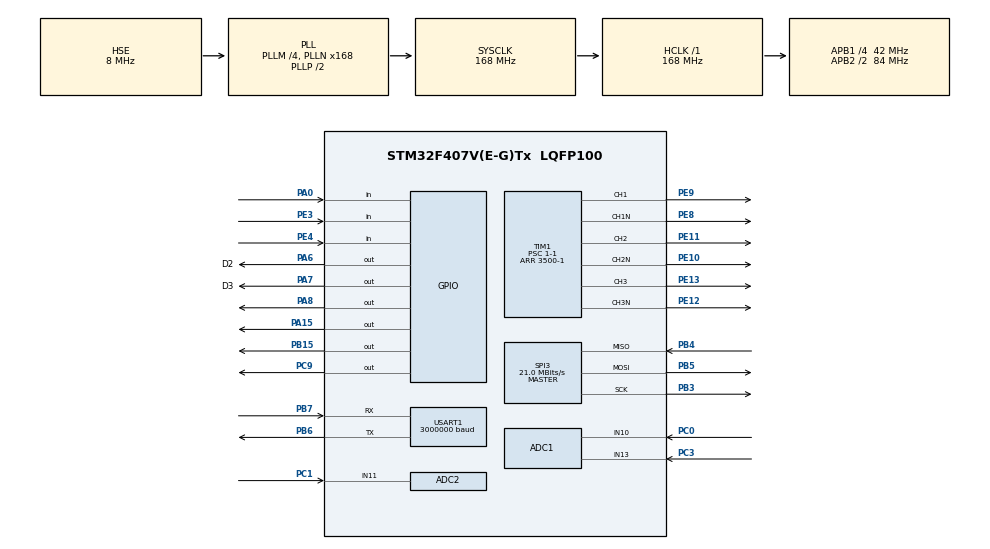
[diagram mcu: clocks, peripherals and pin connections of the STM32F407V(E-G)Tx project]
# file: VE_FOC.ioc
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ADC1.Channel-5\#ChannelRegularConversion=ADC_CHANNEL_13
ADC1.Channel-6\#ChannelInjectedConversion=ADC_CHANNEL_10
ADC1.ClockPrescaler=ADC_CLOCK_SYNC_PCLK_DIV4
ADC1.ContinuousConvMode=DISABLE
ADC1.EOCSelection=ADC_EOC_SINGLE_CONV
ADC1.ExternalTrigInjecConv=ADC_EXTERNALTRIGINJECCONV_T1_TRGO
ADC1.ExternalTrigInjecConvEdge=ADC_EXTERNALTRIGINJECCONVEDGE_RISING
ADC1.InjNumberOfConversion=1
ADC1.InjectedOffset-6\#ChannelInjectedConversion=0
ADC1.InjectedRank-6\#ChannelInjectedConversion=1
ADC1.NbrOfConversion=1
ADC1.NbrOfConversionFlag=1
ADC1.Rank-5\#ChannelRegularConversion=1
ADC1.SamplingTime-5\#ChannelRegularConversion=ADC_SAMPLETIME_3CYCLES
ADC1.SamplingTime-6\#ChannelInjectedConversion=ADC_SAMPLETIME_3CYCLES
ADC1.master=1
ADC2.Channel-0\#ChannelRegularConversion=ADC_CHANNEL_11
ADC2.Channel-1\#ChannelInjectedConversion=ADC_CHANNEL_11
ADC2.ExternalTrigInjecConv=ADC_EXTERNALTRIGINJECCONV_T1_TRGO
ADC2.InjNumberOfConversion=1
ADC2.InjectedOffset-1\#ChannelInjectedConversion=0
ADC2.InjectedRank-1\#ChannelInjectedConversion=1
ADC2.NbrOfConversionFlag=1
ADC2.Rank-0\#ChannelRegularConversion=1
ADC2.SamplingTime-0\#ChannelRegularConversion=ADC_SAMPLETIME_3CYCLES
ADC2.SamplingTime-1\#ChannelInjectedConversion=ADC_SAMPLETIME_3CYCLES
Dma.ADC1.0.Direction=DMA_PERIPH_TO_MEMORY
Dma.ADC1.0.FIFOMode=DMA_FIFOMODE_DISABLE
Dma.ADC1.0.Instance=DMA2_Stream0
Dma.ADC1.0.MemDataAlignment=DMA_MDATAALIGN_HALFWORD
Dma.ADC1.0.MemInc=DMA_MINC_ENABLE
Dma.ADC1.0.Mode=DMA_NORMAL
Dma.ADC1.0.PeriphDataAlignment=DMA_PDATAALIGN_HALFWORD
Dma.ADC1.0.PeriphInc=DMA_PINC_DISABLE
Dma.ADC1.0.Priority=DMA_PRIORITY_LOW
Dma.ADC2.1.Direction=DMA_PERIPH_TO_MEMORY
Dma.ADC2.1.FIFOMode=DMA_FIFOMODE_DISABLE
Dma.ADC2.1.Instance=DMA2_Stream3
Dma.ADC2.1.MemDataAlignment=DMA_MDATAALIGN_HALFWORD
Dma.ADC2.1.MemInc=DMA_MINC_ENABLE
Dma.ADC2.1.Mode=DMA_NORMAL
Dma.ADC2.1.PeriphDataAlignment=DMA_PDATAALIGN_HALFWORD
Dma.ADC2.1.PeriphInc=DMA_PINC_DISABLE
Dma.ADC2.1.Priority=DMA_PRIORITY_LOW
Dma.Request0=ADC1
Dma.Request1=ADC2
Dma.Request2=USART1_RX
Dma.Request3=USART1_TX
Dma.USART1_RX.2.Direction=DMA_PERIPH_TO_MEMORY
Dma.USART1_RX.2.FIFOMode=DMA_FIFOMODE_DISABLE
Dma.USART1_RX.2.Instance=DMA2_Stream2
Dma.USART1_RX.2.MemDataAlignment=DMA_MDATAALIGN_BYTE
Dma.USART1_RX.2.MemInc=DMA_MINC_ENABLE
Dma.USART1_RX.2.Mode=DMA_NORMAL
Dma.USART1_RX.2.PeriphDataAlignment=DMA_PDATAALIGN_BYTE
Dma.USART1_RX.2.PeriphInc=DMA_PINC_DISABLE
Dma.USART1_RX.2.Priority=DMA_PRIORITY_LOW
Dma.USART1_TX.3.Direction=DMA_MEMORY_TO_PERIPH
Dma.USART1_TX.3.FIFOMode=DMA_FIFOMODE_DISABLE
Dma.USART1_TX.3.Instance=DMA2_Stream7
Dma.USART1_TX.3.MemDataAlignment=DMA_MDATAALIGN_BYTE
Dma.USART1_TX.3.MemInc=DMA_MINC_ENABLE
Dma.USART1_TX.3.Mode=DMA_NORMAL
Dma.USART1_TX.3.PeriphDataAlignment=DMA_PDATAALIGN_BYTE
Dma.USART1_TX.3.PeriphInc=DMA_PINC_DISABLE
Dma.USART1_TX.3.Priority=DMA_PRIORITY_LOW
Mcu.Family=STM32F4
Mcu.Name=STM32F407V(E-G)Tx
Mcu.Package=LQFP100
NVIC.ADC_IRQn=true\:0\:0\:false\:false\:true\:true\:true\:true
NVIC.DMA2_Stream0_IRQn=true\:0\:0\:false\:false\:true\:false\:true\:true
NVIC.DMA2_Stream2_IRQn=true\:0\:0\:false\:false\:true\:false\:true\:true
NVIC.DMA2_Stream3_IRQn=true\:0\:0\:false\:false\:true\:false\:true\:true
NVIC.DMA2_Stream7_IRQn=true\:0\:0\:false\:false\:true\:false\:true\:true
NVIC.PriorityGroup=NVIC_PRIORITYGROUP_4
NVIC.TIM1_UP_TIM10_IRQn=true\:0\:0\:false\:false\:true\:true\:true\:true
NVIC.TIM7_IRQn=true\:0\:0\:false\:false\:true\:true\:true\:true
NVIC.USART1_IRQn=true\:0\:0\:false\:false\:true\:true\:true\:true
PA0-WKUP.GPIO_PuPd=GPIO_PULLDOWN
PA0-WKUP.Signal=GPIO_Input
PA13.Mode=Serial_Wire
PA13.Signal=SYS_JTMS-SWDIO
PA14.Mode=Serial_Wire
PA14.Signal=SYS_JTCK-SWCLK
PA15.Signal=GPIO_Output
PA6.GPIO_Label=D2
PA6.GPIO_PuPd=GPIO_NOPULL
PA6.PinState=GPIO_PIN_SET
PA6.Signal=GPIO_Output
PA7.GPIO_Label=D3
PA7.PinState=GPIO_PIN_SET
PA7.Signal=GPIO_Output
PA8.GPIO_PuPd=GPIO_NOPULL
PA8.GPIO_Speed=GPIO_SPEED_FREQ_VERY_HIGH
PA8.PinState=GPIO_PIN_SET
PA8.Signal=GPIO_Output
PB15.GPIO_Speed=GPIO_SPEED_FREQ_VERY_HIGH
PB15.PinState=GPIO_PIN_RESET
PB15.Signal=GPIO_Output
PB3.Mode=Full_Duplex_Master
PB3.Signal=SPI3_SCK
PB4.Mode=Full_Duplex_Master
PB4.Signal=SPI3_MISO
PB5.Mode=Full_Duplex_Master
PB5.Signal=SPI3_MOSI
PB6.GPIO_PuPd=GPIO_NOPULL
PB6.Mode=Asynchronous
PB6.Signal=USART1_TX
PB7.GPIO_PuPd=GPIO_NOPULL
PB7.Mode=Asynchronous
PB7.Signal=USART1_RX
PC0.Signal=ADCx_IN10
PC1.Signal=ADCx_IN11
PC3.Signal=ADCx_IN13
PC9.GPIO_ModeDefaultOutputPP=GPIO_MODE_OUTPUT_OD
PC9.GPIO_PuPd=GPIO_NOPULL
PC9.GPIO_Speed=GPIO_SPEED_FREQ_VERY_HIGH
PC9.PinState=GPIO_PIN_SET
PC9.Signal=GPIO_Output
PE10.Mode=PWM Generation2 CH2 CH2N
PE10.Signal=TIM1_CH2N
PE11.Signal=S_TIM1_CH2
PE12.Mode=PWM Generation3 CH3 CH3N
PE12.Signal=TIM1_CH3N
PE13.Signal=S_TIM1_CH3
PE3.GPIO_PuPd=GPIO_PULLUP
PE3.Signal=GPIO_Input
PE4.GPIO_PuPd=GPIO_PULLUP
PE4.Signal=GPIO_Input
PE8.Mode=PWM Generation1 CH1 CH1N
PE8.Signal=TIM1_CH1N
PE9.Signal=S_TIM1_CH1
PH0-OSC_IN.Mode=HSE-External-Oscillator
PH0-OSC_IN.Signal=RCC_OSC_IN
PH1-OSC_OUT.Mode=HSE-External-Oscillator
PH1-OSC_OUT.Signal=RCC_OSC_OUT
ProjectManager.HeapSize=0x200
ProjectManager.StackSize=0x400
ProjectManager.TargetToolchain=MDK-ARM V5.32
RCC.48MHZClocksFreq_Value=84000000
RCC.AHBFreq_Value=168000000
RCC.APB1CLKDivider=RCC_HCLK_DIV4
RCC.APB1Freq_Value=42000000
RCC.APB1TimFreq_Value=84000000
RCC.APB2CLKDivider=RCC_HCLK_DIV2
RCC.APB2Freq_Value=84000000
RCC.APB2TimFreq_Value=168000000
RCC.CortexFreq_Value=168000000
RCC.HCLKFreq_Value=168000000
RCC.HSE_VALUE=8000000
RCC.HSI_VALUE=16000000
RCC.LSE_VALUE=32768
RCC.PLLM=4
RCC.PLLN=168
RCC.PLLSourceVirtual=RCC_PLLSOURCE_HSE
RCC.SYSCLKFreq_VALUE=168000000
RCC.SYSCLKSource=RCC_SYSCLKSOURCE_PLLCLK
RCC.VCOOutputFreq_Value=336000000
SH.ADCx_IN10.0=ADC1_IN10,IN10
SH.ADCx_IN11.0=ADC2_IN11,IN11
SH.ADCx_IN13.0=ADC1_IN13,IN13
SH.S_TIM1_CH1.0=TIM1_CH1,PWM Generation1 CH1 CH1N
SH.S_TIM1_CH2.0=TIM1_CH2,PWM Generation2 CH2 CH2N
SH.S_TIM1_CH3.0=TIM1_CH3,PWM Generation3 CH3 CH3N
SPI3.BaudRatePrescaler=SPI_BAUDRATEPRESCALER_2
SPI3.CalculateBaudRate=21.0 MBits/s
SPI3.Direction=SPI_DIRECTION_2LINES
SPI3.Mode=SPI_MODE_MASTER
SPI3.VirtualType=VM_MASTER
STMicroelectronics.X-CUBE-ALGOBUILD.1.4.0.LibraryCcDSPOoLibraryJjDSPOoLibrary=true
TIM1.AutoReloadPreload=TIM_AUTORELOAD_PRELOAD_ENABLE
TIM1.Channel-PWM\ Generation1\ CH1\ CH1N=TIM_CHANNEL_1
TIM1.Channel-PWM\ Generation2\ CH2\ CH2N=TIM_CHANNEL_2
TIM1.Channel-PWM\ Generation3\ CH3\ CH3N=TIM_CHANNEL_3
TIM1.CounterMode=TIM_COUNTERMODE_CENTERALIGNED3
TIM1.DeadTime=5
TIM1.OCMode_PWM-PWM\ Generation1\ CH1\ CH1N=TIM_OCMODE_PWM2
TIM1.OCMode_PWM-PWM\ Generation2\ CH2\ CH2N=TIM_OCMODE_PWM2
TIM1.OCMode_PWM-PWM\ Generation3\ CH3\ CH3N=TIM_OCMODE_PWM2
TIM1.Period=3500-1
TIM1.Prescaler=1-1
TIM1.Pulse-PWM\ Generation1\ CH1\ CH1N=300
TIM1.Pulse-PWM\ Generation2\ CH2\ CH2N=300
TIM1.Pulse-PWM\ Generation3\ CH3\ CH3N=300
TIM1.RepetitionCounter=7
TIM1.TIM_MasterOutputTrigger=TIM_TRGO_UPDATE
TIM6.Prescaler=84-1
TIM7.AutoReloadPreload=TIM_AUTORELOAD_PRELOAD_ENABLE
TIM7.Period=250-1
TIM7.Prescaler=84-1
USART1.BaudRate=3000000
USART1.VirtualMode=VM_ASYNC
VP_STMicroelectronics.X-CUBE-ALGOBUILD_VS_DSPOoLibraryJjLibrary_1.4.0_1.4.0.Mode=DSPOoLibraryJjLibrary
VP_TIM1_VS_ClockSourceINT.Mode=Internal
VP_TIM6_VS_ClockSourceINT.Mode=Enable_Timer
VP_TIM7_VS_ClockSourceINT.Mode=Enable_Timer
board=custom

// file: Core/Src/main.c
/* USER CODE BEGIN Header */
/**
  ******************************************************************************
  * @file           : main.c
  * @brief          : Main program body
  ******************************************************************************
  * @attention
  *
  * Copyright (c) 2025 STMicroelectronics.
  * All rights reserved.
  *
  * This software is licensed under terms that can be found in the LICENSE file
  * in the root directory of this software component.
  * If no LICENSE file comes with this software, it is provided AS-IS.
  *
  ******************************************************************************
  */
/* USER CODE END Header */
#include "main.h"
#include "adc.h"
#include "dma.h"
#include "spi.h"
#include "tim.h"
#include "usart.h"
#include "gpio.h"

/* USER CODE BEGIN Includes */
#include "header.h"
#include "Control.h"
#include "Upper.h"
#include "FOC_Algorithm.h"
/* USER CODE END Includes */

void SystemClock_Config(void);

int main(void)
{

  /* MCU Configuration--------------------------------------------------------*/

  /* Reset of all peripherals, Initializes the Flash interface and the Systick. */
  HAL_Init();

  /* Configure the system clock */
  SystemClock_Config();

  /* Initialize all configured peripherals */
  MX_GPIO_Init();
  MX_DMA_Init();
  MX_ADC1_Init();
  MX_TIM1_Init();
  MX_TIM7_Init();
  MX_USART1_UART_Init();
  MX_SPI3_Init();
  MX_ADC2_Init();
  MX_TIM6_Init();
  /* USER CODE BEGIN 2 */

  /*初始化所有的结构体*/
  Init_all_struct();

   HAL_TIM_Base_Start(&htim1);//这个定时器用于产生3路互补信号
   HAL_TIM_Base_Start(&htim6);//这个定时器用于记录时间
   //重复计数器的要求,确保是递增的,再上管关闭下官开启时进行采样
   TIM1->CNT = 0;

   //初始化三路PWM通道
   HAL_TIM_PWM_Start(&htim1,TIM_CHANNEL_1);
   HAL_TIMEx_PWMN_Start(&htim1,TIM_CHANNEL_1);
   HAL_TIM_PWM_Start(&htim1,TIM_CHANNEL_2);
   HAL_TIMEx_PWMN_Start(&htim1,TIM_CHANNEL_2);
   HAL_TIM_PWM_Start(&htim1,TIM_CHANNEL_3);
   HAL_TIMEx_PWMN_Start(&htim1,TIM_CHANNEL_3);

   /*按键初始化*/
   button_init();
   /*串口空闲中断接受开启与关闭DMA半传输完成中断*/
   HAL_UARTEx_ReceiveToIdle_DMA(&huart1, rx_buffer,128);
   __HAL_DMA_DISABLE_IT(&hdma_usart1_rx, DMA_IT_HT);

   /*设置初始模式为电流校准模式,只有进行电流校准之后才会进行SVPWM运算等等*/
   Operate_mode = cur_bias_calibrate_mode;
   /*获取机械零偏角*/
	 Mechanical_zero_point_calibration(&Svpwm, &My_motor, &AS5600);

  /* USER CODE END 2 */

  /* Infinite loop */
  /* USER CODE BEGIN WHILE */
    while(1)
    {
        get_btn();//持续获取按键值

        HAL_ADCEx_InjectedStart_IT(&hadc1);//开启adc注入组中断，转换完成时进行触发
        HAL_ADCEx_InjectedStart_IT(&hadc2);

//         HAL_TIM_Base_Start_IT(&htim7); // 开环运行,暂时不开启
    /* USER CODE END WHILE */

    }
}

void SystemClock_Config(void)
{
  RCC_OscInitTypeDef RCC_OscInitStruct = {0};
  RCC_ClkInitTypeDef RCC_ClkInitStruct = {0};

  /** Configure the main internal regulator output voltage
  */
  __HAL_RCC_PWR_CLK_ENABLE();
  __HAL_PWR_VOLTAGESCALING_CONFIG(PWR_REGULATOR_VOLTAGE_SCALE1);

  /** Initializes the RCC Oscillators according to the specified parameters
  * in the RCC_OscInitTypeDef structure.
  */
  RCC_OscInitStruct.OscillatorType = RCC_OSCILLATORTYPE_HSE;
  RCC_OscInitStruct.HSEState = RCC_HSE_ON;
  RCC_OscInitStruct.PLL.PLLState = RCC_PLL_ON;
  RCC_OscInitStruct.PLL.PLLSource = RCC_PLLSOURCE_HSE;
  RCC_OscInitStruct.PLL.PLLM = 4;
  RCC_OscInitStruct.PLL.PLLN = 168;
  RCC_OscInitStruct.PLL.PLLP = RCC_PLLP_DIV2;
  RCC_OscInitStruct.PLL.PLLQ = 4;
  if (HAL_RCC_OscConfig(&RCC_OscInitStruct) != HAL_OK)
  {
    Error_Handler();
  }

  /** Initializes the CPU, AHB and APB buses clocks
  */
  RCC_ClkInitStruct.ClockType = RCC_CLOCKTYPE_HCLK|RCC_CLOCKTYPE_SYSCLK
                              |RCC_CLOCKTYPE_PCLK1|RCC_CLOCKTYPE_PCLK2;
  RCC_ClkInitStruct.SYSCLKSource = RCC_SYSCLKSOURCE_PLLCLK;
  RCC_ClkInitStruct.AHBCLKDivider = RCC_SYSCLK_DIV1;
  RCC_ClkInitStruct.APB1CLKDivider = RCC_HCLK_DIV4;
  RCC_ClkInitStruct.APB2CLKDivider = RCC_HCLK_DIV2;

  if (HAL_RCC_ClockConfig(&RCC_ClkInitStruct, FLASH_LATENCY_5) != HAL_OK)
  {
    Error_Handler();
  }
}

void Error_Handler(void)
{
    __disable_irq();
    while (1)
    {
    }
}
